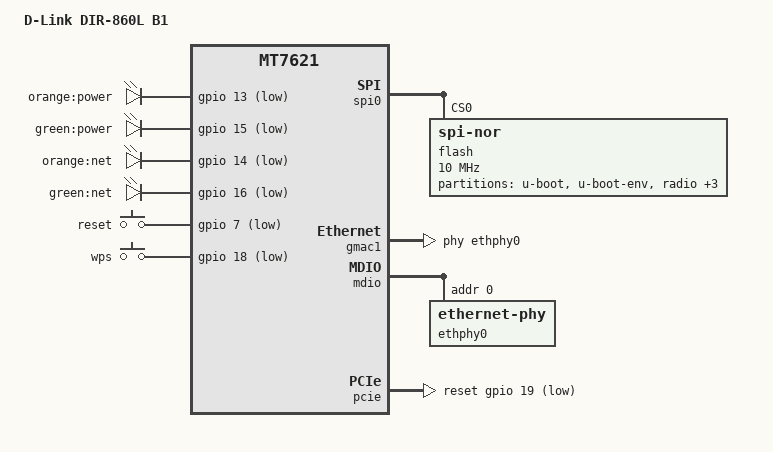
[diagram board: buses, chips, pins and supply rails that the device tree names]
#include "mt7621.dtsi"

#include <dt-bindings/gpio/gpio.h>
#include <dt-bindings/input/input.h>

/ {
	compatible = "dlink,dir-860l-b1", "mediatek,mt7621-soc";
	model = "D-Link DIR-860L B1";

	aliases {
		label-mac-device = &gmac0;

		led-boot = &led_power_green;
		led-failsafe = &led_power_green;
		led-running = &led_power_green;
		led-upgrade = &led_power_green;
	};

	leds {
		compatible = "gpio-leds";

		power {
			label = "orange:power";
			gpios = <&gpio 13 GPIO_ACTIVE_LOW>;
		};

		led_power_green: power2 {
			label = "green:power";
			gpios = <&gpio 15 GPIO_ACTIVE_LOW>;
		};

		net {
			label = "orange:net";
			gpios = <&gpio 14 GPIO_ACTIVE_LOW>;
		};

		net2 {
			label = "green:net";
			gpios = <&gpio 16 GPIO_ACTIVE_LOW>;
		};
	};

	keys {
		compatible = "gpio-keys";

		reset {
			label = "reset";
			gpios = <&gpio 7 GPIO_ACTIVE_LOW>;
			linux,code = <KEY_RESTART>;
		};

		wps {
			label = "wps";
			gpios = <&gpio 18 GPIO_ACTIVE_LOW>;
			linux,code = <KEY_WPS_BUTTON>;
		};
	};
};

&spi0 {
	status = "okay";

	flash@0 {
		compatible = "jedec,spi-nor";
		reg = <0>;
		spi-max-frequency = <10000000>;

		partitions {
			compatible = "fixed-partitions";
			#address-cells = <1>;
			#size-cells = <1>;

			partition@0 {
				label = "u-boot";
				reg = <0x0 0x30000>;
				read-only;
			};

			partition@30000 {
				label = "u-boot-env";
				reg = <0x30000 0x4000>;
				read-only;
			};

			radio: partition@34000 {
				label = "radio";
				reg = <0x34000 0x4000>;
				read-only;
			};

			factory: partition@38000 {
				label = "factory";
				reg = <0x38000 0x8000>;
				read-only;
			};

			partition@40000 {
				label = "defaults";
				reg = <0x40000 0x10000>;
				read-only;
			};

			partition@50000 {
				compatible = "seama";
				label = "firmware";
				reg = <0x50000 0xfb0000>;
			};
		};
	};
};

&gmac0 {
	nvmem-cells = <&macaddr_radio_4>;
	nvmem-cell-names = "mac-address";
};

&gmac1 {
	status = "okay";
	label = "wan";
	phy-handle = <&ethphy0>;

	nvmem-cells = <&macaddr_radio_4>;
	nvmem-cell-names = "mac-address";
};

&mdio {
	ethphy0: ethernet-phy@0 {
		reg = <0>;
	};
};

&switch0 {
	ports {
		port@1 {
			status = "okay";
			label = "lan4";
		};

		port@2 {
			status = "okay";
			label = "lan3";
		};

		port@3 {
			status = "okay";
			label = "lan2";
		};

		port@4 {
			status = "okay";
			label = "lan1";
		};
	};
};

&pcie {
	status = "okay";

	reset-gpios = <&gpio 19 GPIO_ACTIVE_LOW>,
		      <&gpio 8 GPIO_ACTIVE_LOW>;
};

&pcie0 {
	wifi0: mt76@0,0 {
		reg = <0x0000 0 0 0 0>;
		mediatek,mtd-eeprom = <&radio 0x2000>;
		ieee80211-freq-limit = <5000000 6000000>;
	};
};

&pcie1 {
	wifi1: mt76@0,0 {
		reg = <0x0000 0 0 0 0>;
		mediatek,mtd-eeprom = <&radio 0x0>;
		ieee80211-freq-limit = <2400000 2500000>;
	};
};

&state_default {
	gpio {
		groups = "uart3", "jtag", "wdt";
		function = "gpio";
	};
};

&radio {
	compatible = "nvmem-cells";
	#address-cells = <1>;
	#size-cells = <1>;

	macaddr_radio_4: macaddr@4 {
		reg = <0x4 0x6>;
	};
};
